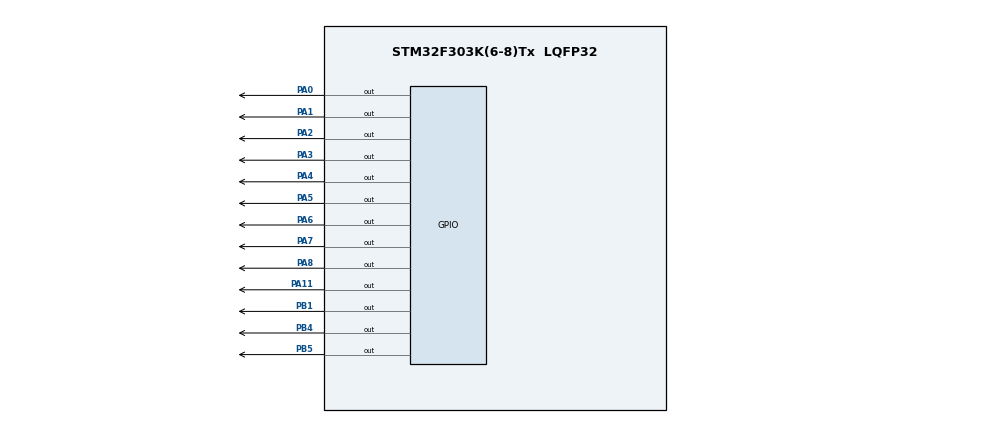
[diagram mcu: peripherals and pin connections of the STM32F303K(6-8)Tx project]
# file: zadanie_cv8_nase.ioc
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Mcu.Family=STM32F3
Mcu.Name=STM32F303K(6-8)Tx
Mcu.Package=LQFP32
NVIC.PriorityGroup=NVIC_PRIORITYGROUP_4
NVIC.TIM2_IRQn=true\:0\:0\:false\:false\:true\:true\:true
PA0.PinState=GPIO_PIN_SET
PA0.Signal=GPIO_Output
PA1.PinState=GPIO_PIN_SET
PA1.Signal=GPIO_Output
PA11.PinState=GPIO_PIN_SET
PA11.Signal=GPIO_Output
PA2.Signal=GPIO_Output
PA3.PinState=GPIO_PIN_SET
PA3.Signal=GPIO_Output
PA4.Signal=GPIO_Output
PA5.Signal=GPIO_Output
PA6.Signal=GPIO_Output
PA7.PinState=GPIO_PIN_SET
PA7.Signal=GPIO_Output
PA8.PinState=GPIO_PIN_SET
PA8.Signal=GPIO_Output
PB1.PinState=GPIO_PIN_SET
PB1.Signal=GPIO_Output
PB4.PinState=GPIO_PIN_SET
PB4.Signal=GPIO_Output
PB5.PinState=GPIO_PIN_SET
PB5.Signal=GPIO_Output
ProjectManager.HeapSize=0x200
ProjectManager.StackSize=0x400
ProjectManager.TargetToolchain=STM32CubeIDE
RCC.AHBFreq_Value=8000000
RCC.APB1Freq_Value=8000000
RCC.APB2Freq_Value=8000000
RCC.CortexFreq_Value=8000000
RCC.HSE_VALUE=8000000
RCC.HSI_VALUE=8000000
RCC.SYSCLKFreq_VALUE=8000000
TIM2.Channel-Output\ Compare1\ No\ Output=TIM_CHANNEL_1
TIM2.OCMode_1=TIM_OCMODE_ACTIVE
TIM2.Period=999
TIM2.Prescaler=7999
VP_TIM2_VS_ClockSourceINT.Mode=Internal
VP_TIM2_VS_no_output1.Mode=Output Compare1 No Output
board=custom

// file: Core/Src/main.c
/* USER CODE BEGIN Header */
/**
  ******************************************************************************
  * @file           : main.c
  * @brief          : Main program body
  ******************************************************************************
  * @attention
  *
  * <h2><center>&copy; Copyright (c) 2020 STMicroelectronics.
  * All rights reserved.</center></h2>
  *
  * This software component is licensed by ST under BSD 3-Clause license,
  * the "License"; You may not use this file except in compliance with the
  * License. You may obtain a copy of the License at:
  *                        opensource.org/licenses/BSD-3-Clause
  *
  ******************************************************************************
  */
/* USER CODE END Header */
#include "main.h"
#include "tim.h"
#include "gpio.h"

/* USER CODE BEGIN Includes */
uint8_t text_to_display[] = "____";
/* USER CODE END Includes */

/* USER CODE BEGIN PM */
enum abeceda{
	A = 0b1110111,
	a = 0b1111101,
	b = 0b0011111,
	C = 0b1001110,
	c = 0b0001101,
	d = 0b0111101,
	E = 0b1001111,
	F = 0b1000111,
	G = 0b1011110,
	H = 0b0110111,
	h = 0b0010111,
	I = 0b0000110,
	J = 0b0111100,
	L = 0b0001110,
	n = 0b0010101,
	O = 0b1111110,
	o = 0b0011101,
	P = 0b1100111,
	q = 0b1110011,
	r = 0b0000101,
	S = 0b1011011,
	t = 0b0001111,
	U = 0b0111110,
	u = 0b0011100,
	y = 0b0111011,

	K = 0b1010111,
	M = 0b1101010,
	W = 0b0111111,
	X = 0b1001001,
	Z = 0b1101101,
	V = 0b0101010,

	num_1 = 0b0110000,
	num_2 = 0b1101101,
	num_3 = 0b1111001,
	num_4 = 0b0010011,
	num_5 = 0b1011011,
	num_6 = 0b1011111,
	num_7 = 0b1110000,
	num_8 = 0b1111111,
	num_9 = 0b1111011,
	num_0 = 0b1111110,
};
/* USER CODE END PM */

void SystemClock_Config(void);

int main(void)
{

  /* MCU Configuration--------------------------------------------------------*/

  /* Reset of all peripherals, Initializes the Flash interface and the Systick. */

  LL_APB2_GRP1_EnableClock(LL_APB2_GRP1_PERIPH_SYSCFG);
  LL_APB1_GRP1_EnableClock(LL_APB1_GRP1_PERIPH_PWR);

  NVIC_SetPriorityGrouping(NVIC_PRIORITYGROUP_4);

  /* System interrupt init*/

  /* Configure the system clock */
  SystemClock_Config();

  /* Initialize all configured peripherals */
  MX_GPIO_Init();
  MX_TIM2_Init();
  /* USER CODE BEGIN 2 */
  LL_TIM_EnableIT_UPDATE(TIM2);
  LL_TIM_EnableCounter(TIM2);
  /* USER CODE END 2 */

  // VYPISUJEME TENTO RETAZEC, AKOKOLVEK DLHY, COKOLVEK V NOM JE, JE TO SPRAVENE DYNAMICKY, NIE HARDCODED
  uint8_t vypis[] = " MATEJ_KOMLOSI_85899   MAREK_MACZKO_92720 ";

  int index = 0;
  int flag = 0;
  /* Infinite loop */
  while (1)
  {

	  strncpy(text_to_display, &vypis[index], 4);
	  if(flag == 0){
		  index++;
	  }
	  if(flag == 1){
		  index--;
	  }

	  if(index == sizeof(vypis)-4){
		  flag = 1;
	  }
	  if(index == 0){
		  flag = 0;
	  }

	  LL_mDelay(500);

  }
}

void SystemClock_Config(void)
{
  LL_FLASH_SetLatency(LL_FLASH_LATENCY_0);
  while(LL_FLASH_GetLatency()!= LL_FLASH_LATENCY_0)
  {
  }
  LL_RCC_HSI_Enable();

   /* Wait till HSI is ready */
  while(LL_RCC_HSI_IsReady() != 1)
  {

  }
  LL_RCC_HSI_SetCalibTrimming(16);
  LL_RCC_SetAHBPrescaler(LL_RCC_SYSCLK_DIV_1);
  LL_RCC_SetAPB1Prescaler(LL_RCC_APB1_DIV_1);
  LL_RCC_SetAPB2Prescaler(LL_RCC_APB1_DIV_1);
  LL_RCC_SetSysClkSource(LL_RCC_SYS_CLKSOURCE_HSI);

   /* Wait till System clock is ready */
  while(LL_RCC_GetSysClkSource() != LL_RCC_SYS_CLKSOURCE_STATUS_HSI)
  {

  }
  LL_Init1msTick(8000000);
  LL_SetSystemCoreClock(8000000);
}

/* USER CODE BEGIN 4 */
void write_character(unsigned short ch)
{
static char bin[8];
static char inverted_bin[8];

	// write bin number into an array
	for (int i = 0;i < 8; i++)
	{
		bin[i] = ch & 0x80 ? '1' : '0';
		ch <<= 1;
	}

	// invert characters in bin array
	for (int i = 0;i < 8; i++)
	{
		if (bin[i] == '1'){inverted_bin[i] = 0;}
		else if (bin[i] == '0'){inverted_bin[i] = 1;}
	}

	if(inverted_bin[1] == 1){
		LL_GPIO_SetOutputPin(GPIOA, LL_GPIO_PIN_1);
	}
	if(inverted_bin[1] == 0){
		LL_GPIO_ResetOutputPin(GPIOA, LL_GPIO_PIN_1);
	}
	//--------------------------------------------------
	if(inverted_bin[2] == 1){
			LL_GPIO_SetOutputPin(GPIOA, LL_GPIO_PIN_0);
		}
	if(inverted_bin[2] == 0){
		LL_GPIO_ResetOutputPin(GPIOA, LL_GPIO_PIN_0);
	}
	//--------------------------------------------------
	if(inverted_bin[3] == 1){
			LL_GPIO_SetOutputPin(GPIOA, LL_GPIO_PIN_8);
	}
	if(inverted_bin[3] == 0){
		LL_GPIO_ResetOutputPin(GPIOA, LL_GPIO_PIN_8);
	}
	//--------------------------------------------------
	if(inverted_bin[4] == 1){
			LL_GPIO_SetOutputPin(GPIOB, LL_GPIO_PIN_5);
	}
	if(inverted_bin[4] == 0){
		LL_GPIO_ResetOutputPin(GPIOB, LL_GPIO_PIN_5);
	}
	//--------------------------------------------------
	if(inverted_bin[5] == 1){
			LL_GPIO_SetOutputPin(GPIOA, LL_GPIO_PIN_11);
	}
	if(inverted_bin[5] == 0){
		LL_GPIO_ResetOutputPin(GPIOA, LL_GPIO_PIN_11);
	}
	//--------------------------------------------------
	if(inverted_bin[6] == 1){
			LL_GPIO_SetOutputPin(GPIOA, LL_GPIO_PIN_3);
	}
	if(inverted_bin[6] == 0){
		LL_GPIO_ResetOutputPin(GPIOA, LL_GPIO_PIN_3);
	}
	//--------------------------------------------------
	if(inverted_bin[7] == 1){
			LL_GPIO_SetOutputPin(GPIOB, LL_GPIO_PIN_4);
	}
	if(inverted_bin[7] == 0){
		LL_GPIO_ResetOutputPin(GPIOB, LL_GPIO_PIN_4);
	}

	/*
	 HAL_GPIO_WritePin(GPIOA, LL_GPIO_PIN_1, inverted_bin[1]);
	 HAL_GPIO_WritePin(GPIOA, LL_GPIO_PIN_0, inverted_bin[2]);
	 HAL_GPIO_WritePin(GPIOA, LL_GPIO_PIN_8, inverted_bin[3]);
	 HAL_GPIO_WritePin(GPIOB, LL_GPIO_PIN_5, inverted_bin[4]);

	 HAL_GPIO_WritePin(GPIOA, LL_GPIO_PIN_11, inverted_bin[5]);
	 HAL_GPIO_WritePin(GPIOA, LL_GPIO_PIN_3, inverted_bin[6]);
	 HAL_GPIO_WritePin(GPIOB, LL_GPIO_PIN_4, inverted_bin[7]);
	 //HAL_GPIO_WritePin(GPIOB, GPIO_PIN_1, 0); // desatinna ciara
	  */
}

void turnON_digit(int seg1,int seg2, int seg3, int seg4)
{
	if (seg1 == 1){
		LL_GPIO_SetOutputPin(GPIOA, LL_GPIO_PIN_5);
	}else{
		LL_GPIO_ResetOutputPin(GPIOA, LL_GPIO_PIN_5);
	}
	if (seg2 == 1){
		LL_GPIO_SetOutputPin(GPIOA, LL_GPIO_PIN_4);
	}else{
		LL_GPIO_ResetOutputPin(GPIOA, LL_GPIO_PIN_4);
	}
	if (seg3 == 1){
		LL_GPIO_SetOutputPin(GPIOA, LL_GPIO_PIN_6);
	}else{
		LL_GPIO_ResetOutputPin(GPIOA, LL_GPIO_PIN_6);
	}
	if (seg4 == 1){
		LL_GPIO_SetOutputPin(GPIOA, LL_GPIO_PIN_2);
	}else{
		LL_GPIO_ResetOutputPin(GPIOA, LL_GPIO_PIN_2);
	}
}

void write_4_chars(uint8_t text[]){

	for(uint8_t i = 0; i<4; i++){
		if(i == 0){
			write_character(getCharNumber(text[i]));
			turnON_digit(1,0,0,0);
		}
		if(i == 1){
			write_character(getCharNumber(text[i]));
			turnON_digit(0,1,0,0);
		}
		if(i == 2){
			write_character(getCharNumber(text[i]));
			turnON_digit(0,0,1,0);
		}
		if(i == 3){
			write_character(getCharNumber(text[i]));
			turnON_digit(0,0,0,1);
		}
		resetSegments();
		resetDigits();
	}
}

unsigned short getCharNumber(uint8_t single_char){

	if(single_char == 'A'){
	        return 0b1110111;
	    }
	if(single_char == 'a'){
	        return 0b1111101;
	    }
	if(single_char == 'b'){
	        return 0b0011111;
	    }
	if(single_char == 'C'){
	        return 0b1001110;
	    }
	if(single_char == 'c'){
	        return 0b0001101;
	    }
	if(single_char == 'd'){
	        return 0b0111101;
	    }
	if(single_char == 'E'){
	        return 0b1001111;
	    }
	if(single_char == 'F'){
	        return 0b1000111;
	    }
	if(single_char == 'G'){
	        return 0b1011110;
	    }
	if(single_char == 'H'){
	        return 0b0110111;
	    }
	if(single_char == 'h'){
	        return 0b0010111;
	    }
	if(single_char == 'I'){
	        return 0b0000110;
	    }
	if(single_char == 'J'){
	        return 0b0111100;
	    }
	if(single_char == 'L'){
	        return 0b0001110;
	    }
	if(single_char == 'n'){
	        return 0b0010101;
	    }
	if(single_char == 'O'){
	        return 0b1111110;
	    }
	if(single_char == 'o'){
	        return 0b0011101;
	    }
	if(single_char == 'P'){
	        return 0b1100111;
	    }
	if(single_char == 'q'){
	        return 0b1110011;
	    }
	if(single_char == 'r'){
	        return 0b0000101;
	    }
	if(single_char == 'S'){
	        return 0b1011011;
	    }
	if(single_char == 't'){
	        return 0b0001111;
	    }
	if(single_char == 'U'){
	        return 0b0111110;
	    }
	if(single_char == 'u'){
	        return 0b0011100;
	    }
	if(single_char == 'y'){
	        return 0b0111011;
	    }
	if(single_char == 'K'){
	        return 0b1010111;
	    }
	if(single_char == 'M'){
	        return 0b1101010;
	    }
	if(single_char == 'W'){
	        return 0b0111111;
	    }
	if(single_char == 'X'){
	        return 0b1001001;
	    }
	if(single_char == 'Z'){
	        return 0b1101101;
	    }
	if(single_char == 'V'){
	        return 0b0101010;
	    }
	if(single_char == '1'){
	        return 0b0110000;
	    }
	if(single_char == '2'){
	        return 0b1101101;
	    }
	if(single_char == '3'){
	        return 0b1111001;
	    }
	if(single_char == '4'){
	        return 0b0010011;
	    }
	if(single_char == '5'){
	        return 0b1011011;
	    }
	if(single_char == '6'){
	        return 0b1011111;
	    }
	if(single_char == '7'){
	        return 0b1110000;
	    }
	if(single_char == '8'){
	        return 0b1111111;
	    }
	if(single_char == '9'){
	        return 0b1111011;
	    }
	if(single_char == '0'){
	        return 0b1111110;
	    }
	if(single_char == '_'){
	        return 0b0001000;
	    }
	if(single_char == ' '){
		        return 0b0000000;
		    }
}

void resetDigits(){
	turnON_digit(0, 0, 0, 0);
}
void resetSegments(){
	LL_GPIO_SetOutputPin(GPIOA, LL_GPIO_PIN_1);
	LL_GPIO_SetOutputPin(GPIOA, LL_GPIO_PIN_0);
	LL_GPIO_SetOutputPin(GPIOA, LL_GPIO_PIN_8);
	LL_GPIO_SetOutputPin(GPIOB, LL_GPIO_PIN_5);
	LL_GPIO_SetOutputPin(GPIOA, LL_GPIO_PIN_11);
	LL_GPIO_SetOutputPin(GPIOA, LL_GPIO_PIN_3);
	LL_GPIO_SetOutputPin(GPIOB, LL_GPIO_PIN_4);
}
/* USER CODE END 4 */

void Error_Handler(void)
{
}

/************************ (C) COPYRIGHT STMicroelectronics *****END OF FILE****/
